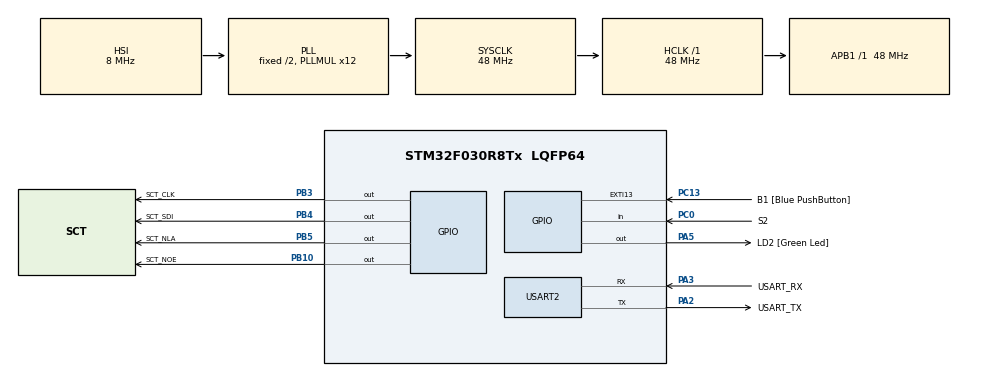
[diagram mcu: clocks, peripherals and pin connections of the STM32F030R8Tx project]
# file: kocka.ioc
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Mcu.Family=STM32F0
Mcu.Name=STM32F030R8Tx
Mcu.Package=LQFP64
PA13.GPIO_Label=TMS
PA13.Mode=Serial_Wire
PA13.Signal=SYS_SWDIO
PA14.GPIO_Label=TCK
PA14.Mode=Serial_Wire
PA14.Signal=SYS_SWCLK
PA2.GPIO_Label=USART_TX
PA2.GPIO_Mode=GPIO_MODE_AF_PP
PA2.GPIO_PuPd=GPIO_NOPULL
PA2.GPIO_Speed=GPIO_SPEED_FREQ_LOW
PA2.Mode=Asynchronous
PA2.Signal=USART2_TX
PA3.GPIO_Label=USART_RX
PA3.GPIO_Mode=GPIO_MODE_AF_PP
PA3.GPIO_PuPd=GPIO_NOPULL
PA3.GPIO_Speed=GPIO_SPEED_FREQ_LOW
PA3.Mode=Asynchronous
PA3.Signal=USART2_RX
PA5.GPIO_Label=LD2 [Green Led]
PA5.GPIO_Mode=GPIO_MODE_OUTPUT_PP
PA5.GPIO_PuPd=GPIO_NOPULL
PA5.GPIO_Speed=GPIO_SPEED_FREQ_LOW
PA5.Signal=GPIO_Output
PB10.GPIO_Label=SCT_NOE
PB10.Signal=GPIO_Output
PB3.GPIO_Label=SCT_CLK
PB3.Signal=GPIO_Output
PB4.GPIO_Label=SCT_SDI
PB4.Signal=GPIO_Output
PB5.GPIO_Label=SCT_NLA
PB5.Signal=GPIO_Output
PC0.GPIO_Label=S2
PC0.GPIO_PuPd=GPIO_PULLUP
PC0.Signal=GPIO_Input
PC13.GPIO_Label=B1 [Blue PushButton]
PC13.GPIO_ModeDefaultEXTI=GPIO_MODE_IT_FALLING
PC13.Signal=GPXTI13
PC14-OSC32_IN.Mode=LSE-External-Oscillator
PC14-OSC32_IN.Signal=RCC_OSC32_IN
PC15-OSC32_OUT.Mode=LSE-External-Oscillator
PC15-OSC32_OUT.Signal=RCC_OSC32_OUT
PF0-OSC_IN.Mode=HSE-External-Clock-Source
PF0-OSC_IN.Signal=RCC_OSC_IN
PF1-OSC_OUT.Signal=RCC_OSC_OUT
ProjectManager.HeapSize=0x200
ProjectManager.StackSize=0x400
ProjectManager.TargetToolchain=STM32CubeIDE
RCC.AHBFreq_Value=48000000
RCC.APB1Freq_Value=48000000
RCC.APB1TimFreq_Value=48000000
RCC.HCLKFreq_Value=48000000
RCC.PLLMUL=RCC_PLL_MUL12
RCC.SYSCLKFreq_VALUE=48000000
RCC.SYSCLKSource=RCC_SYSCLKSOURCE_PLLCLK
USART2.VirtualMode-Asynchronous=VM_ASYNC
board=NUCLEO-F030R8

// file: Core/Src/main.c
/* USER CODE BEGIN Header */
/**
 ******************************************************************************
 * @file           : main.c
 * @brief          : Main program body
 ******************************************************************************
 * @attention
 *
 * Copyright (c) 2025 STMicroelectronics.
 * All rights reserved.
 *
 * This software is licensed under terms that can be found in the LICENSE file
 * in the root directory of this software component.
 * If no LICENSE file comes with this software, it is provided AS-IS.
 *
 ******************************************************************************
 */
/* USER CODE END Header */
#include "main.h"

/* USER CODE BEGIN Includes */
#include "sct.h"
#include <stdlib.h>
#include <time.h>
/* USER CODE END Includes */

/* USER CODE BEGIN PD */
// Funkcia na simuláciu hodu kockou
void hod_kockou(void) {
    uint32_t start_time = HAL_GetTick(); // Získa aktuálny čas v milisekundách
    uint32_t elapsed_time = 0;
    uint8_t final_values[3];
    uint16_t display_value = 0;

    // Simulácia "hádzania" pre všetky tri displeje
    while (elapsed_time < 2000) {
        for (int i = 0; i < 3; i++) {
            uint8_t random_value = (rand() % 6) + 1; // Náhodné číslo od 1 do 6
            final_values[i] = random_value;
        }

        // Vytvorenie čísla pre zobrazenie na displeji
        display_value = (final_values[0] * 100) + (final_values[1] * 10) + final_values[2];
        sct_value(display_value, 0); // Zobrazenie čísla na displeji

        // Postupné spomaľovanie (čas medzi zmenami čísiel sa zvyšuje)
        HAL_Delay(50 + (elapsed_time / 10));

        elapsed_time = HAL_GetTick() - start_time; // Aktualizácia uplynutého času
    }

    // Generovanie konečných hodnôt kocky
    for (int i = 0; i < 3; i++) {
        final_values[i] = (rand() % 6) + 1;
    }

    // Vytvorenie konečného čísla pre zobrazenie na displeji
    display_value = (final_values[0] * 100) + (final_values[1] * 10) + final_values[2];
    sct_value(display_value, 0); // Zobrazenie konečného čísla na displeji
}

/* USER CODE END PD */

UART_HandleTypeDef huart2;

void SystemClock_Config(void);
static void MX_GPIO_Init(void);
static void MX_USART2_UART_Init(void);

/* USER CODE BEGIN 0 */
static uint16_t debounce2 = 0xFFFF;

void button_advanced(void) {
	static uint32_t off_time = 0;
	debounce2 = (debounce2 << 1) | HAL_GPIO_ReadPin(S2_GPIO_Port, S2_Pin);

	if (debounce2 == 0x7FFF) {
		HAL_GPIO_WritePin(S2_GPIO_Port, S2_Pin, GPIO_PIN_SET);
		off_time = HAL_GetTick() + 1000;
	}

	if (HAL_GetTick() > off_time) {
		HAL_GPIO_WritePin(S2_GPIO_Port, S2_Pin, GPIO_PIN_RESET);
	}
}

/* USER CODE END 0 */

int main(void) {

	/* MCU Configuration--------------------------------------------------------*/

	/* Reset of all peripherals, Initializes the Flash interface and the Systick. */
	HAL_Init();

	/* Configure the system clock */
	SystemClock_Config();

	/* Initialize all configured peripherals */
	MX_GPIO_Init();
	MX_USART2_UART_Init();
	/* USER CODE BEGIN 2 */
	srand(time(NULL));
	/* USER CODE END 2 */

	/* Infinite loop */
	while (1) {

		/* USER CODE BEGIN 3 */

		if (HAL_GPIO_ReadPin(S2_GPIO_Port, S2_Pin) == GPIO_PIN_RESET) { // Tlačidlo je stlačené (nízka úroveň)
			hod_kockou(); // Spustenie simulácie hodu kockou
			HAL_Delay(300); // Debouncing tlačidla
		}

	}
	/* USER CODE END 3 */
}

void SystemClock_Config(void) {
	RCC_OscInitTypeDef RCC_OscInitStruct = { 0 };
	RCC_ClkInitTypeDef RCC_ClkInitStruct = { 0 };

	/** Initializes the RCC Oscillators according to the specified parameters
	 * in the RCC_OscInitTypeDef structure.
	 */
	RCC_OscInitStruct.OscillatorType = RCC_OSCILLATORTYPE_HSI;
	RCC_OscInitStruct.HSIState = RCC_HSI_ON;
	RCC_OscInitStruct.HSICalibrationValue = RCC_HSICALIBRATION_DEFAULT;
	RCC_OscInitStruct.PLL.PLLState = RCC_PLL_ON;
	RCC_OscInitStruct.PLL.PLLSource = RCC_PLLSOURCE_HSI;
	RCC_OscInitStruct.PLL.PLLMUL = RCC_PLL_MUL12;
	RCC_OscInitStruct.PLL.PREDIV = RCC_PREDIV_DIV1;
	if (HAL_RCC_OscConfig(&RCC_OscInitStruct) != HAL_OK) {
		Error_Handler();
	}

	/** Initializes the CPU, AHB and APB buses clocks
	 */
	RCC_ClkInitStruct.ClockType = RCC_CLOCKTYPE_HCLK | RCC_CLOCKTYPE_SYSCLK
			| RCC_CLOCKTYPE_PCLK1;
	RCC_ClkInitStruct.SYSCLKSource = RCC_SYSCLKSOURCE_PLLCLK;
	RCC_ClkInitStruct.AHBCLKDivider = RCC_SYSCLK_DIV1;
	RCC_ClkInitStruct.APB1CLKDivider = RCC_HCLK_DIV1;

	if (HAL_RCC_ClockConfig(&RCC_ClkInitStruct, FLASH_LATENCY_1) != HAL_OK) {
		Error_Handler();
	}
}

static void MX_USART2_UART_Init(void) {

	huart2.Instance = USART2;
	huart2.Init.BaudRate = 38400;
	huart2.Init.WordLength = UART_WORDLENGTH_8B;
	huart2.Init.StopBits = UART_STOPBITS_1;
	huart2.Init.Parity = UART_PARITY_NONE;
	huart2.Init.Mode = UART_MODE_TX_RX;
	huart2.Init.HwFlowCtl = UART_HWCONTROL_NONE;
	huart2.Init.OverSampling = UART_OVERSAMPLING_16;
	huart2.Init.OneBitSampling = UART_ONE_BIT_SAMPLE_DISABLE;
	huart2.AdvancedInit.AdvFeatureInit = UART_ADVFEATURE_NO_INIT;
	if (HAL_UART_Init(&huart2) != HAL_OK) {
		Error_Handler();
	}

}

static void MX_GPIO_Init(void) {
	GPIO_InitTypeDef GPIO_InitStruct = { 0 };

	/* GPIO Ports Clock Enable */
	__HAL_RCC_GPIOC_CLK_ENABLE();
	__HAL_RCC_GPIOF_CLK_ENABLE();
	__HAL_RCC_GPIOA_CLK_ENABLE();
	__HAL_RCC_GPIOB_CLK_ENABLE();

	/*Configure GPIO pin Output Level */
	HAL_GPIO_WritePin(LD2_GPIO_Port, LD2_Pin, GPIO_PIN_RESET);

	/*Configure GPIO pin Output Level */
	HAL_GPIO_WritePin(GPIOB,
	SCT_NOE_Pin | SCT_CLK_Pin | SCT_SDI_Pin | SCT_NLA_Pin, GPIO_PIN_RESET);

	/*Configure GPIO pin : B1_Pin */
	GPIO_InitStruct.Pin = B1_Pin;
	GPIO_InitStruct.Mode = GPIO_MODE_IT_FALLING;
	GPIO_InitStruct.Pull = GPIO_NOPULL;
	HAL_GPIO_Init(B1_GPIO_Port, &GPIO_InitStruct);

	/*Configure GPIO pin : S2_Pin */
	GPIO_InitStruct.Pin = S2_Pin;
	GPIO_InitStruct.Mode = GPIO_MODE_INPUT;
	GPIO_InitStruct.Pull = GPIO_PULLUP;
	HAL_GPIO_Init(S2_GPIO_Port, &GPIO_InitStruct);

	/*Configure GPIO pin : LD2_Pin */
	GPIO_InitStruct.Pin = LD2_Pin;
	GPIO_InitStruct.Mode = GPIO_MODE_OUTPUT_PP;
	GPIO_InitStruct.Pull = GPIO_NOPULL;
	GPIO_InitStruct.Speed = GPIO_SPEED_FREQ_LOW;
	HAL_GPIO_Init(LD2_GPIO_Port, &GPIO_InitStruct);

	/*Configure GPIO pins : SCT_NOE_Pin SCT_CLK_Pin SCT_SDI_Pin SCT_NLA_Pin */
	GPIO_InitStruct.Pin = SCT_NOE_Pin | SCT_CLK_Pin | SCT_SDI_Pin | SCT_NLA_Pin;
	GPIO_InitStruct.Mode = GPIO_MODE_OUTPUT_PP;
	GPIO_InitStruct.Pull = GPIO_NOPULL;
	GPIO_InitStruct.Speed = GPIO_SPEED_FREQ_LOW;
	HAL_GPIO_Init(GPIOB, &GPIO_InitStruct);

}

void Error_Handler(void) {
	__disable_irq();
	while (1) {
	}
}
